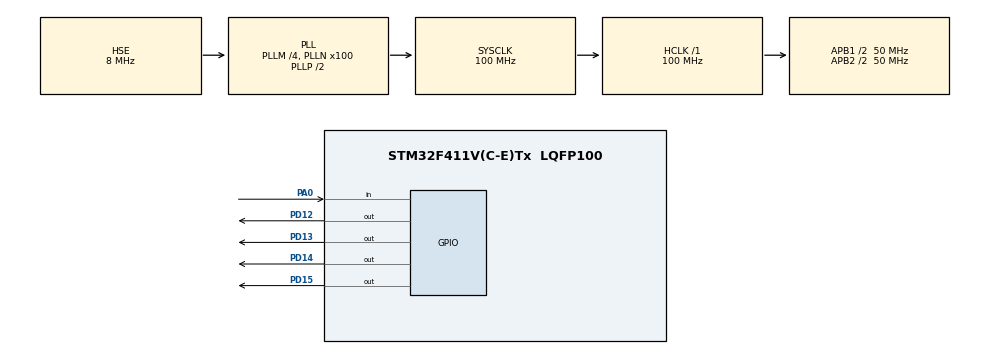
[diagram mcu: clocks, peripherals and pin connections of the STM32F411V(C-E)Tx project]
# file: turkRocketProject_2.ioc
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Mcu.Family=STM32F4
Mcu.Name=STM32F411V(C-E)Tx
Mcu.Package=LQFP100
NVIC.PriorityGroup=NVIC_PRIORITYGROUP_0
PA0-WKUP.GPIO_PuPd=GPIO_PULLDOWN
PA0-WKUP.Signal=GPIO_Input
PD12.PinState=GPIO_PIN_RESET
PD12.Signal=GPIO_Output
PD13.Signal=GPIO_Output
PD14.Signal=GPIO_Output
PD15.Signal=GPIO_Output
PH0\ -\ OSC_IN.Mode=HSE-External-Oscillator
PH0\ -\ OSC_IN.Signal=RCC_OSC_IN
PH1\ -\ OSC_OUT.Mode=HSE-External-Oscillator
PH1\ -\ OSC_OUT.Signal=RCC_OSC_OUT
ProjectManager.HeapSize=0x200
ProjectManager.StackSize=0x400
ProjectManager.TargetToolchain=STM32CubeIDE
RCC.48MHZClocksFreq_Value=25000000
RCC.AHBFreq_Value=100000000
RCC.APB1CLKDivider=RCC_HCLK_DIV2
RCC.APB1Freq_Value=50000000
RCC.APB1TimFreq_Value=100000000
RCC.APB2CLKDivider=RCC_HCLK_DIV2
RCC.APB2Freq_Value=50000000
RCC.APB2TimFreq_Value=100000000
RCC.CortexFreq_Value=100000000
RCC.HCLKFreq_Value=100000000
RCC.HSE_VALUE=8000000
RCC.HSI_VALUE=16000000
RCC.LSE_VALUE=32768
RCC.PLLI2SM=5
RCC.PLLI2SN=200
RCC.PLLM=4
RCC.PLLN=100
RCC.PLLQ=8
RCC.PLLSourceVirtual=RCC_PLLSOURCE_HSE
RCC.SYSCLKFreq_VALUE=100000000
RCC.SYSCLKSource=RCC_SYSCLKSOURCE_PLLCLK
RCC.VCOOutputFreq_Value=200000000
board=STM32F411E-DISCO

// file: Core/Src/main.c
/* USER CODE BEGIN Header */
/**
  ******************************************************************************
  * @file           : main.c
  * @brief          : Main program body
  ******************************************************************************
  * @attention
  *
  * Copyright (c) 2023 STMicroelectronics.
  * All rights reserved.
  *
  * This software is licensed under terms that can be found in the LICENSE file
  * in the root directory of this software component.
  * If no LICENSE file comes with this software, it is provided AS-IS.
  *
  ******************************************************************************
  */
/* USER CODE END Header */
#include "main.h"

/* USER CODE BEGIN PV */
int count=0;
int count_1=0;

/* USER CODE END PV */

void SystemClock_Config(void);
static void MX_GPIO_Init(void);

int main(void)
{

  /* MCU Configuration--------------------------------------------------------*/

  /* Reset of all peripherals, Initializes the Flash interface and the Systick. */
  HAL_Init();

  /* Configure the system clock */
  SystemClock_Config();

  /* Initialize all configured peripherals */
  MX_GPIO_Init();

  /* Infinite loop */
  /* USER CODE BEGIN WHILE */
  while (1)
  {
	  if(HAL_GPIO_ReadPin(GPIOA, GPIO_PIN_0) && count==0){
		  HAL_Delay(100);
		  HAL_GPIO_WritePin(GPIOD, GPIO_PIN_12, GPIO_PIN_SET);
		  HAL_Delay(100);
		  count++;
	  }
	  else if(HAL_GPIO_ReadPin(GPIOA, GPIO_PIN_0) && count==1){
		  HAL_Delay(100);
		  HAL_GPIO_WritePin(GPIOD, GPIO_PIN_12|GPIO_PIN_13, GPIO_PIN_SET);
		  HAL_Delay(100);
		  count++;
	  }
	  else if(HAL_GPIO_ReadPin(GPIOA, GPIO_PIN_0) && count==2){
		  HAL_Delay(100);
		  HAL_GPIO_WritePin(GPIOD, GPIO_PIN_12|GPIO_PIN_13|GPIO_PIN_14, GPIO_PIN_SET);
		  HAL_Delay(100);
		  count++;
	  }
	  else if(HAL_GPIO_ReadPin(GPIOA, GPIO_PIN_0) && count==3){
		  HAL_Delay(100);
		  HAL_GPIO_WritePin(GPIOD, GPIO_PIN_12|GPIO_PIN_13|GPIO_PIN_14|GPIO_PIN_15, GPIO_PIN_SET);
		  HAL_Delay(100);
		  count++;
	  }
	  else{
		  HAL_GPIO_WritePin(GPIOD, GPIO_PIN_12|GPIO_PIN_13|GPIO_PIN_14|GPIO_PIN_15, GPIO_PIN_RESET);
	  }

    /* USER CODE END WHILE */

  }
}

void SystemClock_Config(void)
{
  RCC_OscInitTypeDef RCC_OscInitStruct = {0};
  RCC_ClkInitTypeDef RCC_ClkInitStruct = {0};

  /** Configure the main internal regulator output voltage
  */
  __HAL_RCC_PWR_CLK_ENABLE();
  __HAL_PWR_VOLTAGESCALING_CONFIG(PWR_REGULATOR_VOLTAGE_SCALE1);

  /** Initializes the RCC Oscillators according to the specified parameters
  * in the RCC_OscInitTypeDef structure.
  */
  RCC_OscInitStruct.OscillatorType = RCC_OSCILLATORTYPE_HSE;
  RCC_OscInitStruct.HSEState = RCC_HSE_ON;
  RCC_OscInitStruct.PLL.PLLState = RCC_PLL_ON;
  RCC_OscInitStruct.PLL.PLLSource = RCC_PLLSOURCE_HSE;
  RCC_OscInitStruct.PLL.PLLM = 4;
  RCC_OscInitStruct.PLL.PLLN = 100;
  RCC_OscInitStruct.PLL.PLLP = RCC_PLLP_DIV2;
  RCC_OscInitStruct.PLL.PLLQ = 8;
  if (HAL_RCC_OscConfig(&RCC_OscInitStruct) != HAL_OK)
  {
    Error_Handler();
  }

  /** Initializes the CPU, AHB and APB buses clocks
  */
  RCC_ClkInitStruct.ClockType = RCC_CLOCKTYPE_HCLK|RCC_CLOCKTYPE_SYSCLK
                              |RCC_CLOCKTYPE_PCLK1|RCC_CLOCKTYPE_PCLK2;
  RCC_ClkInitStruct.SYSCLKSource = RCC_SYSCLKSOURCE_PLLCLK;
  RCC_ClkInitStruct.AHBCLKDivider = RCC_SYSCLK_DIV1;
  RCC_ClkInitStruct.APB1CLKDivider = RCC_HCLK_DIV2;
  RCC_ClkInitStruct.APB2CLKDivider = RCC_HCLK_DIV2;

  if (HAL_RCC_ClockConfig(&RCC_ClkInitStruct, FLASH_LATENCY_3) != HAL_OK)
  {
    Error_Handler();
  }
}

static void MX_GPIO_Init(void)
{
  GPIO_InitTypeDef GPIO_InitStruct = {0};

  /* GPIO Ports Clock Enable */
  __HAL_RCC_GPIOH_CLK_ENABLE();
  __HAL_RCC_GPIOA_CLK_ENABLE();
  __HAL_RCC_GPIOD_CLK_ENABLE();

  /*Configure GPIO pin Output Level */
  HAL_GPIO_WritePin(GPIOD, GPIO_PIN_12|GPIO_PIN_13|GPIO_PIN_14|GPIO_PIN_15, GPIO_PIN_RESET);

  /*Configure GPIO pin : PA0 */
  GPIO_InitStruct.Pin = GPIO_PIN_0;
  GPIO_InitStruct.Mode = GPIO_MODE_INPUT;
  GPIO_InitStruct.Pull = GPIO_PULLDOWN;
  HAL_GPIO_Init(GPIOA, &GPIO_InitStruct);

  /*Configure GPIO pins : PD12 PD13 PD14 PD15 */
  GPIO_InitStruct.Pin = GPIO_PIN_12|GPIO_PIN_13|GPIO_PIN_14|GPIO_PIN_15;
  GPIO_InitStruct.Mode = GPIO_MODE_OUTPUT_PP;
  GPIO_InitStruct.Pull = GPIO_NOPULL;
  GPIO_InitStruct.Speed = GPIO_SPEED_FREQ_LOW;
  HAL_GPIO_Init(GPIOD, &GPIO_InitStruct);

}

void Error_Handler(void)
{
  __disable_irq();
  while (1)
  {
  }
}
